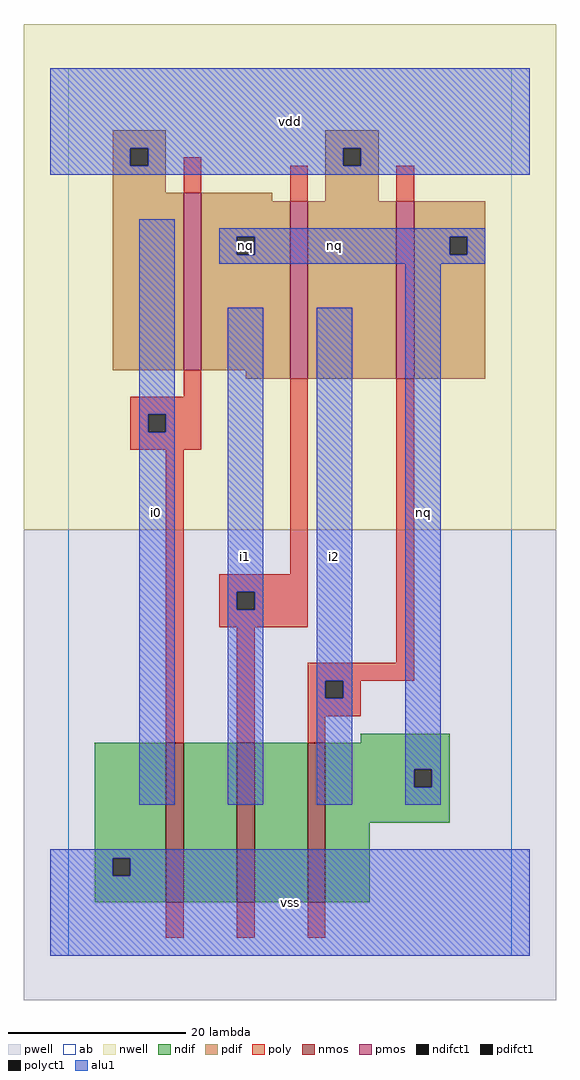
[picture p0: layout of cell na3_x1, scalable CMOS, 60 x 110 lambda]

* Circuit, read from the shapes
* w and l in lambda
.subckt na3_x1 i0 i1 i2 nq vdd vss
M1 n1 i0 vss VSUBS nfet w=18 l=2
M2 n2 i1 n1 VSUBS nfet w=18 l=2
M3 nq i2 n2 VSUBS nfet w=18 l=2
M4 nq i0 vdd n3 pfet w=20 l=2
M5 vdd i1 nq n3 pfet w=20 l=2
M6 nq i2 vdd n3 pfet w=20 l=2
.ends

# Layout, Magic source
magic
tech scmos
<< ab >>
rect 0 0 50 100
<< nwell >>
rect -5 48 55 105
<< pwell >>
rect -5 -5 55 48
<< poly >>
rect 13 86 15 90
rect 25 85 27 89
rect 37 85 39 89
rect 13 63 15 66
rect 7 61 15 63
rect 7 59 9 61
rect 11 59 15 61
rect 7 57 15 59
rect 11 24 13 57
rect 25 43 27 65
rect 17 41 27 43
rect 17 39 19 41
rect 21 39 27 41
rect 17 37 27 39
rect 19 24 21 37
rect 37 33 39 65
rect 27 31 39 33
rect 27 29 29 31
rect 31 29 33 31
rect 27 27 33 29
rect 27 24 29 27
rect 11 2 13 6
rect 19 2 21 6
rect 27 2 29 6
<< ndif >>
rect 33 24 43 25
rect 3 11 11 24
rect 3 9 5 11
rect 7 9 11 11
rect 3 6 11 9
rect 13 6 19 24
rect 21 6 27 24
rect 29 21 43 24
rect 29 19 39 21
rect 41 19 43 21
rect 29 15 43 19
rect 29 6 34 15
<< pdif >>
rect 5 91 11 93
rect 5 89 7 91
rect 9 89 11 91
rect 29 91 35 93
rect 5 86 11 89
rect 29 89 31 91
rect 33 89 35 91
rect 5 66 13 86
rect 15 85 23 86
rect 29 85 35 89
rect 15 81 25 85
rect 15 79 19 81
rect 21 79 25 81
rect 15 66 25 79
rect 20 65 25 66
rect 27 65 37 85
rect 39 81 47 85
rect 39 79 43 81
rect 45 79 47 81
rect 39 65 47 79
<< alu1 >>
rect -2 91 52 100
rect -2 89 7 91
rect 9 89 31 91
rect 33 89 52 91
rect -2 88 52 89
rect 8 61 12 83
rect 17 81 47 82
rect 17 79 19 81
rect 21 79 43 81
rect 45 79 47 81
rect 17 78 47 79
rect 8 59 9 61
rect 11 59 12 61
rect 8 17 12 59
rect 18 41 22 73
rect 18 39 19 41
rect 21 39 22 41
rect 18 17 22 39
rect 28 31 32 73
rect 28 29 29 31
rect 31 29 32 31
rect 28 17 32 29
rect 38 21 42 78
rect 38 19 39 21
rect 41 19 42 21
rect 38 17 42 19
rect -2 11 52 12
rect -2 9 5 11
rect 7 9 52 11
rect -2 0 52 9
<< nmos >>
rect 11 6 13 24
rect 19 6 21 24
rect 27 6 29 24
<< pmos >>
rect 13 66 15 86
rect 25 65 27 85
rect 37 65 39 85
<< polyct1 >>
rect 9 59 11 61
rect 19 39 21 41
rect 29 29 31 31
<< ndifct1 >>
rect 5 9 7 11
rect 39 19 41 21
<< pdifct1 >>
rect 7 89 9 91
rect 31 89 33 91
rect 19 79 21 81
rect 43 79 45 81
<< labels >>
rlabel alu1 20 45 20 45 6 i1
rlabel alu1 10 50 10 50 6 i0
rlabel pdifct1 20 80 20 80 6 nq
rlabel alu1 25 6 25 6 6 vss
rlabel alu1 30 45 30 45 6 i2
rlabel alu1 25 94 25 94 6 vdd
rlabel alu1 30 80 30 80 6 nq
rlabel alu1 40 50 40 50 6 nq
<< end >>
